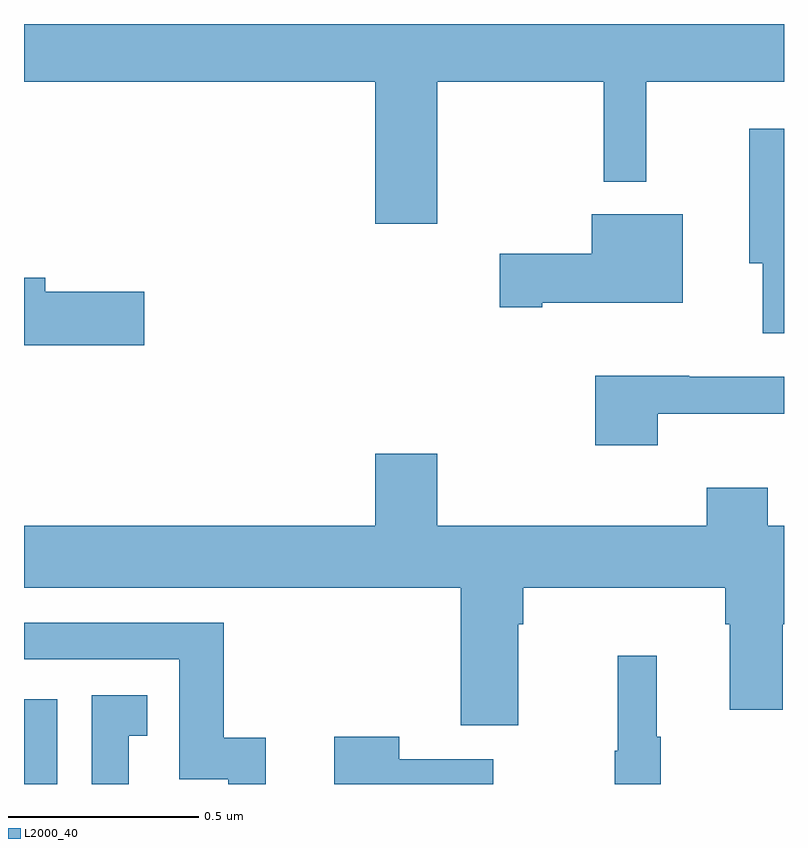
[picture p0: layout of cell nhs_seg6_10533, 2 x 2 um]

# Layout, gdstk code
import gdstk
lib = gdstk.Library(unit=1e-6, precision=1e-09)
def R(c, l, rs):  # rectangles x0, y0, x1, y1
    for r in rs: c.add(gdstk.rectangle(r[:2], r[2:], *l))
def P(c, l, *ps):  # polygons
    for p in ps: c.add(gdstk.Polygon(p, *l))
L2000_40 = (2000, 40)

nhs_seg6_10533 = lib.new_cell('nhs_seg6_10533')
R(nhs_seg6_10533, L2000_40, [(248,933.5,248.088,933.723)])
P(nhs_seg6_10533, L2000_40, [(248,935.348),(248.924,935.348),(248.924,934.974),(249.088,934.974),(249.088,935.348),(249.525,935.348),(249.525,935.085),(249.638,935.085),(249.638,935.348),(250,935.348),(250,935.5),(248,935.5)],
  [(250,935.224),(249.908,935.224),(249.908,934.871),(249.944,934.871),(249.944,934.686),(250,934.686)],
  [(249.364,934.766),(249.733,934.766),(249.733,934.999),(249.494,934.999),(249.494,934.896),(249.252,934.896),(249.252,934.754),(249.364,934.754)],
  [(248.317,934.796),(248.056,934.796),(248.056,934.832),(248,934.832),(248,934.654),(248.317,934.654)],
  [(249.668,934.475),(250,934.475),(250,934.572),(249.751,934.572),(249.751,934.574),(249.503,934.574),(249.503,934.392),(249.668,934.392)],
  [(249.301,933.92),(249.314,933.92),(249.314,934.016),(249.845,934.016),(249.845,933.92),(249.857,933.92),(249.857,933.696),(249.997,933.696),(249.997,933.92),(250,933.92),(250,934.18),(249.957,934.18),(249.957,934.279),(249.797,934.279),(249.797,934.18),(249.088,934.18),(249.088,934.369),(248.924,934.369),(248.924,934.18),(248,934.18),(248,934.016),(249.149,934.016),(249.149,933.654),(249.301,933.654)],
  [(248.636,933.622),(248.525,933.622),(248.525,933.924),(248,933.924),(248,933.828),(248.409,933.828),(248.409,933.513),(248.538,933.513),(248.538,933.5),(248.636,933.5)],
  [(249.676,933.625),(249.665,933.625),(249.665,933.838),(249.562,933.838),(249.562,933.588),(249.555,933.588),(249.555,933.5),(249.676,933.5)],
  [(248.275,933.627),(248.324,933.627),(248.324,933.733),(248.178,933.733),(248.178,933.5),(248.275,933.5)],
  [(249.235,933.565),(248.987,933.565),(248.987,933.625),(248.816,933.625),(248.816,933.5),(249.235,933.5)])

lib.write_gds('nhs_seg6_10533.gds')
